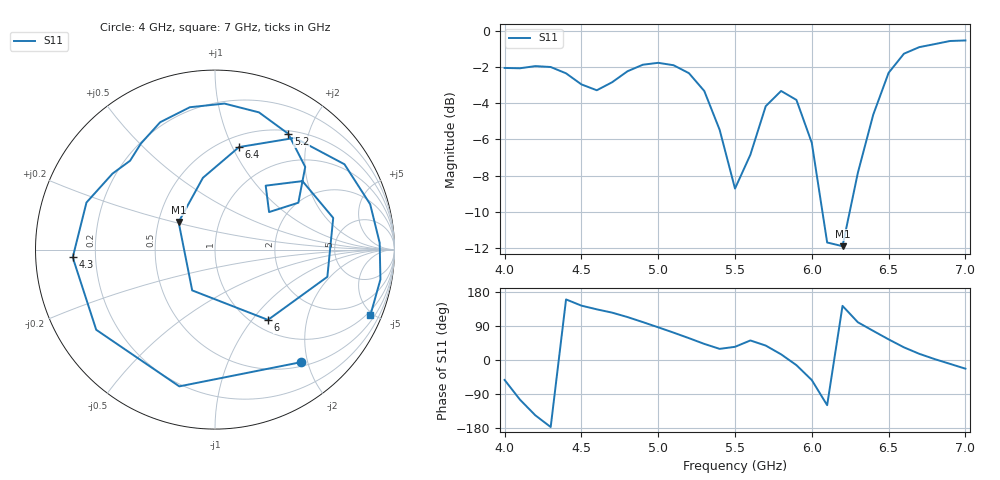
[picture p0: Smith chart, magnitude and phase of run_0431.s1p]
! Touchstone file exported from HFSS 2024.2.0
!  File:  C:/Users/wsak9/Desktop/Sim Fast/Widenad Patch/WP_AI_V1_sweep.aedt
!  Generated:  09:41:52 AM Oct 14, 2026
!  Design:  A1_model
!  Project:  WP_AI_V1_sweep
!  Setup:  Setup1
!  Solution:  Sweep
! Variables:
!  Air_gap = 2.18mm
!  Curve_Amp1 = 3.37
!  Curve_len1 = 1
!  Curve_pos = 11.43mm
!  Extra = 3.38mm
!  H_sub = 0.79mm
!  L_Patch = 18.86mm
!  L_Patch1 = 16.96mm
!  Sx = 0.83mm
!  Sy = 0.57mm
!  WS = 0.49mm
!  W_Patch = 10.87mm
!  W_Patch1 = 13.58mm
!Data is not renormalized
# GHz S MA
! Terminal data exported
! Port[1] = 1
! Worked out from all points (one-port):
!   31 points, 4 GHz to 7 GHz, reference per port
!   lowest |S11| = -11.9 dB at 6.2 GHz (marker M1), VSWR 1.68
!   |S11| at or under -10 dB: 6.069 GHz to 6.247 GHz (177.3 MHz wide, 2.88 % of centre)
!   S11 on the Smith chart (normalised r, x): 4 GHz: 0.57, -1.89; 4.3 GHz: 0.11, -0.03; 5.2 GHz: 0.54, +1.68; 6 GHz: 1.17, -1.20; 6.4 GHz: 0.61, +1.06; 7 GHz: 0.77, -4.82
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4  0.7891 -52.6
4.1  0.7876 -104.6
4.2  0.7985 -146.0
4.3  0.7939 -176.9
4.4  0.7626 159.9
4.5  0.7109 143.5
4.6  0.6849 133.7
4.8  0.7727 113.3
5  0.8153 86.3
5.1  0.8029 72.2
5.2  0.7635 57.6
5.3  0.6817 42.5
5.4  0.5328 29.4
5.5  0.3667 34.8
5.6  0.4546 51.6
5.7  0.619 38.1
5.8  0.6818 15.0
5.9  0.6441 -13.6
6  0.4904 -53.0
6.1  0.2604 -119.2
6.2  0.2544 142.8
6.3  0.4057 99.6
6.4  0.5865 76.8
6.5  0.765 54.5
6.6  0.864 33.4
6.7  0.9007 16.3
6.9  0.9365 -10.2
7  0.9397 -22.9
